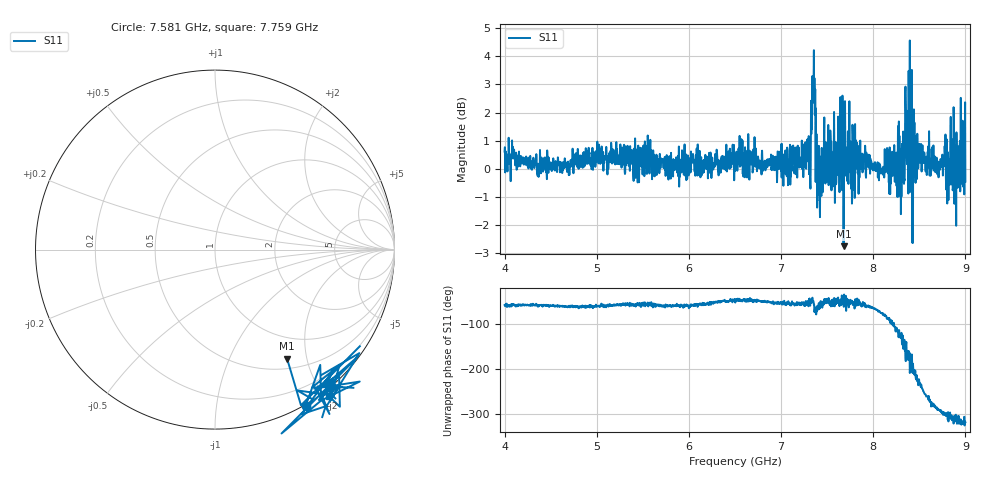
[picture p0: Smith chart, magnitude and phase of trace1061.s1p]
! Created with skrf 1.8.0 (http://scikit-rf.org).
# Hz S RI R 50.0
!freq ReS11 ImS11
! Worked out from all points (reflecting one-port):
!   1601 points, 4 GHz to 9 GHz, reference 50 ohm
!   lowest |S11| = -2.7 dB at 7.678 GHz (marker M1), VSWR 6.38, Z = 32.2 - j83.6 ohm
!   phase of S11 starts at -57 deg and turns -262 deg over the sweep
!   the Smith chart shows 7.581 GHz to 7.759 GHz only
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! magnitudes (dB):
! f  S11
! 4 GHz  0.6
! 4.625 GHz  -0.1
! 5.25 GHz  0.5
! 5.875 GHz  0.1
! 6.5 GHz  0.3
! 7.125 GHz  0.3
! 7.297 GHz  0.5
! 7.319 GHz  -0.7
! 7.347 GHz  3.2
! 7.362 GHz  3.2
! 7.4 GHz  -0.2
! 7.412 GHz  -0.4
! 7.509 GHz  0.1
! 7.609 GHz  0.2
! 7.65 GHz  1.7
! 7.678 GHz  -2.7
! 7.75 GHz  0.2
! 8.097 GHz  0.0
! 8.262 GHz  -1.0
! 8.316 GHz  0.3
! 8.334 GHz  -0.5
! 8.375 GHz  1.3
! 8.425 GHz  -0.2
! 8.459 GHz  -0.5
! 8.562 GHz  0.3
! 8.812 GHz  0.3
! 8.972 GHz  0.3
! 9 GHz  -0.5
